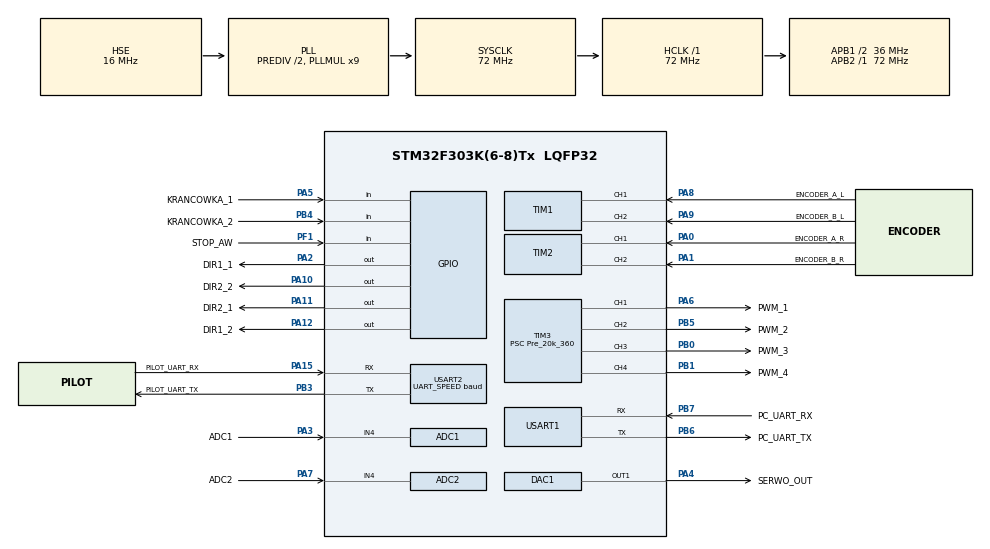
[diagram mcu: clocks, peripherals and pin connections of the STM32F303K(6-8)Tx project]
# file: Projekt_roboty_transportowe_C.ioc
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ADC1.Channel-0\#ChannelRegularConversion=ADC_CHANNEL_4
ADC1.NbrOfConversionFlag=1
ADC1.Offset-0\#ChannelRegularConversion=0
ADC1.OffsetNumber-0\#ChannelRegularConversion=ADC_OFFSET_NONE
ADC1.Rank-0\#ChannelRegularConversion=1
ADC1.SamplingTime-0\#ChannelRegularConversion=ADC_SAMPLETIME_1CYCLE_5
ADC1.SamplingTimeOPAMP-0\#ChannelRegularConversion=ADC_SAMPLETIME_61CYCLES_5
ADC1.SubFamily=STM32F303x8
ADC1.master=1
ADC2.Channel-2\#ChannelRegularConversion=ADC_CHANNEL_4
ADC2.NbrOfConversionFlag=1
ADC2.Offset-2\#ChannelRegularConversion=0
ADC2.OffsetNumber-2\#ChannelRegularConversion=ADC_OFFSET_NONE
ADC2.Rank-2\#ChannelRegularConversion=1
ADC2.SamplingTime-2\#ChannelRegularConversion=ADC_SAMPLETIME_1CYCLE_5
ADC2.SamplingTimeOPAMP-2\#ChannelRegularConversion=ADC_SAMPLETIME_61CYCLES_5
ADC2.SubFamily=STM32F303x8
Dma.Request0=USART2_RX
Dma.USART2_RX.0.Direction=DMA_PERIPH_TO_MEMORY
Dma.USART2_RX.0.Instance=DMA1_Channel6
Dma.USART2_RX.0.MemDataAlignment=DMA_MDATAALIGN_BYTE
Dma.USART2_RX.0.MemInc=DMA_MINC_ENABLE
Dma.USART2_RX.0.Mode=DMA_CIRCULAR
Dma.USART2_RX.0.PeriphDataAlignment=DMA_PDATAALIGN_BYTE
Dma.USART2_RX.0.PeriphInc=DMA_PINC_DISABLE
Dma.USART2_RX.0.Priority=DMA_PRIORITY_HIGH
Mcu.Family=STM32F3
Mcu.Name=STM32F303K(6-8)Tx
Mcu.Package=LQFP32
Mcu.UserConstants=Hz100,99;Hz10,999;Pre_20k_360,9;Counter_20kHz_360,359;Pre_10kHz,7199;UART_SPEED,115200;Hz1000,9;Hz20,499
NVIC.ADC1_2_IRQn=true\:0\:0\:false\:false\:true\:true\:true
NVIC.DMA1_Channel6_IRQn=true\:0\:0\:false\:false\:true\:false\:true
NVIC.PriorityGroup=NVIC_PRIORITYGROUP_4
NVIC.TIM6_DAC1_IRQn=true\:0\:0\:false\:false\:true\:true\:true
NVIC.TIM7_DAC2_IRQn=true\:0\:0\:false\:false\:true\:true\:true
NVIC.USART2_IRQn=true\:0\:0\:false\:false\:true\:true\:true
PA0.GPIO_Label=ENCODER_A_R
PA0.Signal=S_TIM2_CH1_ETR
PA1.GPIO_Label=ENCODER_B_R
PA1.Signal=S_TIM2_CH2
PA10.GPIO_Label=DIR2_2
PA10.Signal=GPIO_Output
PA11.GPIO_Label=DIR2_1
PA11.Signal=GPIO_Output
PA12.GPIO_Label=DIR1_2
PA12.Signal=GPIO_Output
PA13.Mode=Serial_Wire
PA13.Signal=SYS_JTMS-SWDIO
PA14.Mode=Serial_Wire
PA14.Signal=SYS_JTCK-SWCLK
PA15.GPIO_Label=PILOT_UART_RX
PA15.Mode=Asynchronous
PA15.Signal=USART2_RX
PA2.GPIO_Label=DIR1_1
PA2.Signal=GPIO_Output
PA3.GPIO_Label=ADC1
PA3.Mode=IN4-Single-Ended
PA3.Signal=ADC1_IN4
PA4.GPIO_Label=SERWO_OUT
PA4.Signal=COMP_DAC11_group
PA5.GPIO_Label=KRANCOWKA_1
PA5.Signal=GPIO_Input
PA6.GPIO_Label=PWM_1
PA6.Signal=S_TIM3_CH1
PA7.GPIO_Label=ADC2
PA7.Mode=IN4-Single-Ended
PA7.Signal=ADC2_IN4
PA8.GPIO_Label=ENCODER_A_L
PA8.Signal=S_TIM1_CH1
PA9.GPIO_Label=ENCODER_B_L
PA9.Signal=S_TIM1_CH2
PB0.GPIO_Label=PWM_3
PB0.Signal=S_TIM3_CH3
PB1.GPIO_Label=PWM_4
PB1.Signal=S_TIM3_CH4
PB3.GPIO_Label=PILOT_UART_TX
PB3.Mode=Asynchronous
PB3.Signal=USART2_TX
PB4.GPIO_Label=KRANCOWKA_2
PB4.Signal=GPIO_Input
PB5.GPIO_Label=PWM_2
PB5.Signal=S_TIM3_CH2
PB6.GPIO_Label=PC_UART_TX
PB6.Mode=Asynchronous
PB6.Signal=USART1_TX
PB7.GPIO_Label=PC_UART_RX
PB7.Mode=Asynchronous
PB7.Signal=USART1_RX
PF0\ /\ OSC_IN.Mode=HSE-External-Clock-Source
PF0\ /\ OSC_IN.Signal=RCC_OSC_IN
PF1\ /\ OSC_OUT.GPIO_Label=STOP_AW
PF1\ /\ OSC_OUT.Signal=GPIO_Input
ProjectManager.HeapSize=0x200
ProjectManager.StackSize=0x400
ProjectManager.TargetToolchain=STM32CubeIDE
RCC.AHBFreq_Value=72000000
RCC.APB1CLKDivider=RCC_HCLK_DIV2
RCC.APB1Freq_Value=36000000
RCC.APB1TimFreq_Value=72000000
RCC.APB2Freq_Value=72000000
RCC.APB2TimFreq_Value=72000000
RCC.CortexFreq_Value=72000000
RCC.HCLKFreq_Value=72000000
RCC.HSE_VALUE=16000000
RCC.HSI_VALUE=8000000
RCC.PLLMUL=RCC_PLL_MUL9
RCC.PLLSourceVirtual=RCC_PLLSOURCE_HSE
RCC.RCC_PLLsource_Clock_Source_FROM_HSE=RCC_HSE_PREDIV_DIV2
RCC.SYSCLKFreq_VALUE=72000000
RCC.SYSCLKSourceVirtual=RCC_SYSCLKSOURCE_PLLCLK
RCC.Usart1ClockSelection=RCC_USART1CLKSOURCE_SYSCLK
SH.COMP_DAC11_group.0=DAC1_OUT1,DAC_OUT1
SH.S_TIM1_CH1.0=TIM1_CH1,Encoder_Interface
SH.S_TIM1_CH2.0=TIM1_CH2,Encoder_Interface
SH.S_TIM2_CH1_ETR.0=TIM2_CH1,Encoder_Interface
SH.S_TIM2_CH2.0=TIM2_CH2,Encoder_Interface
SH.S_TIM3_CH1.0=TIM3_CH1,PWM Generation1 CH1
SH.S_TIM3_CH2.0=TIM3_CH2,PWM Generation2 CH2
SH.S_TIM3_CH3.0=TIM3_CH3,PWM Generation3 CH3
SH.S_TIM3_CH4.0=TIM3_CH4,PWM Generation4 CH4
TIM1.IC1Filter=15
TIM1.IC2Filter=15
TIM2.EncoderMode=TIM_ENCODERMODE_TI12
TIM2.IC1Filter=15
TIM2.IC2Filter=15
TIM3.Channel-PWM\ Generation1\ CH1=TIM_CHANNEL_1
TIM3.Channel-PWM\ Generation2\ CH2=TIM_CHANNEL_2
TIM3.Channel-PWM\ Generation3\ CH3=TIM_CHANNEL_3
TIM3.Channel-PWM\ Generation4\ CH4=TIM_CHANNEL_4
TIM3.Period=Counter_20kHz_360
TIM3.Prescaler=Pre_20k_360
TIM6.Period=Hz20
TIM6.Prescaler=Pre_10kHz
TIM7.Period=Hz10
TIM7.Prescaler=Pre_10kHz
TIM7.TIM_MasterOutputTrigger=TIM_TRGO_RESET
USART1.VirtualMode-Asynchronous=VM_ASYNC
USART2.BaudRate=UART_SPEED
USART2.VirtualMode-Asynchronous=VM_ASYNC
VP_TIM6_VS_ClockSourceINT.Mode=Enable_Timer
VP_TIM7_VS_ClockSourceINT.Mode=Enable_Timer
board=NUCLEO-F303K8

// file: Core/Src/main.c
/* USER CODE BEGIN Header */
/**
  ******************************************************************************
  * @file           : main.c
  * @brief          : Main program body
  ******************************************************************************
  * @attention
  *
  * Copyright (c) 2022 STMicroelectronics.
  * All rights reserved.
  *
  * This software is licensed under terms that can be found in the LICENSE file
  * in the root directory of this software component.
  * If no LICENSE file comes with this software, it is provided AS-IS.
  *
  ******************************************************************************
  */
/* USER CODE END Header */
#include "main.h"
#include "adc.h"
#include "dac.h"
#include "dma.h"
#include "tim.h"
#include "usart.h"
#include "gpio.h"

/* USER CODE BEGIN Includes */
//https://github.com/mokhwasomssi/stm32_hal_ibus
#include "ibus.h"
#include <stdio.h>
#include <stdlib.h>
#include <stdbool.h>
#include "PID.h"
#include "MOT.h"

/* USER CODE END Includes */

/* USER CODE BEGIN PV */
#define IBUS_UART (&huart2)
#define IBUS_USER_CHANNELS 6

#define ENCODER_LEWY (&htim1)
#define ENCODER_PRAWY (&htim2)
#define PWM_TIMER (&htim3)
#define PID_TIMER (&htim6)
#define COMM_TIMER (&htim7)
#define COMM_HZ 10
#define PID_HZ 20

#define CW 0
#define CCW 1

#define PID_POWER 100

#define CH_TYL_LEWY                        0x00000000U                          /*!< Capture/compare channel 1 identifier      */
#define CH_TYL_PRAWY                       0x00000004U                          /*!< Capture/compare channel 2 identifier      */
#define CH_PRZOD_LEWY                      0x00000008U                          /*!< Capture/compare channel 3 identifier      */
#define CH_PRZOD_PRAWY 					   0x0000000CU

//DEFINES INSIDE MOT.h OF MOTOR PROPERTIES

/* USER CODE END PV */

void SystemClock_Config(void);

/* USER CODE BEGIN 0 */
int8_t Wiadomosc[200];
int16_t Rozmiar;
int16_t test = 10;

bool odebranie;
bool MA;
bool OFF_ON;

int8_t PID_flaga = 0;
int8_t COMM_flaga = 0;

uint16_t ibus_data[IBUS_USER_CHANNELS];

int16_t sterowanie_tyl_lewy = 0;
int16_t sterowanie_tyl_prawy = 0;

int16_t pomiar_tyl_lewy = 0;
int16_t pomiar_tyl_prawy = 0;

int16_t setpoint_tyl_lewy = 0;
int16_t setpoint_tyl_prawy = 0;

PID_t Pid_tyl_lewy;
PID_t Pid_tyl_prawy;

motor mot_tyl_lewy;
motor mot_tyl_prawy;
int16_t ms = 50;

int16_t I1_V;
int16_t I2_OMEGA;
int16_t I3_PLCHLDR;
int16_t I4_V_MAX;
int16_t I5_MA;
int16_t I6_ONOFF;

void HAL_UART_RxCpltCallback(UART_HandleTypeDef *huart);
void HAL_TIM_PeriodElapsedCallback (TIM_HandleTypeDef* htim);
int16_t to_process_range(int16_t input);
int16_t to_communication_range(int16_t input, int16_t replacement);
bool check_communication(int16_t input);
int16_t to_DAC(int16_t input, float min, float max);

/* USER CODE END 0 */

int main(void)
{

  /* MCU Configuration--------------------------------------------------------*/

  /* Reset of all peripherals, Initializes the Flash interface and the Systick. */
  HAL_Init();

  /* Configure the system clock */
  SystemClock_Config();

  /* Initialize all configured peripherals */
  MX_GPIO_Init();
  MX_TIM7_Init();
  MX_DMA_Init();
  MX_USART2_UART_Init();
  MX_TIM3_Init();
  MX_USART1_UART_Init();
  MX_ADC2_Init();
  MX_DAC1_Init();
  MX_TIM1_Init();
  MX_TIM2_Init();
  MX_TIM6_Init();
  MX_ADC1_Init();
  /* USER CODE BEGIN 2 */
  //INIT komunikacji ze zdalna aparatura
  ibus_init();

  //timery dla PID i komunikacji z PC
  HAL_TIM_Base_Start_IT(PID_TIMER);
  HAL_TIM_Base_Start_IT(COMM_TIMER);

  //timer PWM i zmienna sterujaca
  /*TIM_OC_InitTypeDef oc;
  oc.OCMode = TIM_OCMODE_PWM2;
  oc.Pulse = 0;
  oc.OCPolarity = TIM_OCPOLARITY_HIGH;
  oc.OCNPolarity = TIM_OCNPOLARITY_LOW;
  oc.OCFastMode = TIM_OCFAST_ENABLE;
  oc.OCIdleState = TIM_OCIDLESTATE_SET;
  oc.OCNIdleState = TIM_OCNIDLESTATE_RESET;

  HAL_TIM_PWM_ConfigChannel(PWM_TIMER, &oc, CH_TYL_LEWY);
  HAL_TIM_PWM_ConfigChannel(PWM_TIMER, &oc, CH_TYL_PRAWY);
  HAL_TIM_PWM_ConfigChannel(PWM_TIMER, &oc, CH_PRZOD_LEWY);
  HAL_TIM_PWM_ConfigChannel(PWM_TIMER, &oc, CH_PRZOD_PRAWY);*/

  //Pid inicjalizacja
  ms = (int16_t)1000/PID_HZ;
  pid_init(&Pid_tyl_lewy, 0.5, 15.0, 0.0, ms,PID_POWER);
  pid_scaling(&Pid_tyl_lewy, Counter_20kHz_360, -Counter_20kHz_360, Counter_20kHz_360, -Counter_20kHz_360);
  pid_init(&Pid_tyl_prawy, 0.5, 15.0, 0.0, ms,PID_POWER);
  pid_scaling(&Pid_tyl_prawy, Counter_20kHz_360, -Counter_20kHz_360, Counter_20kHz_360, -Counter_20kHz_360);

  //Motor inicjalizacja
  motor_init(&mot_tyl_lewy,DIR1_1_GPIO_Port,DIR1_2_GPIO_Port,DIR1_1_Pin,DIR1_2_Pin);
  motor_init(&mot_tyl_prawy,DIR2_1_GPIO_Port,DIR2_2_GPIO_Port,DIR2_1_Pin,DIR2_2_Pin);

  /* USER CODE END 2 */

  /* Infinite loop */
  /* USER CODE BEGIN WHILE */
  while (1)
  {

	  //STEROWANIE KOLAMI
	  if(PID_flaga == 1){
		  PID_flaga = 0;

		  //LEWE - PID OBLICZA NAWET W TRYBIE MANUALNYM
		  pomiar_tyl_lewy = to_process_range(motor_calculate_speed(&mot_tyl_lewy, ENCODER_LEWY, PID_HZ));
		  sterowanie_tyl_lewy = pid_calc(&Pid_tyl_lewy, pomiar_tyl_lewy, setpoint_tyl_lewy);

		  //STEROWANIE DLA TRYBU AUTOMATYCZNEGO
		  if(MA == 1){
			  if (I1_V != 0){
				  set_motor_dir(&mot_tyl_lewy,sterowanie_tyl_lewy);
				  __HAL_TIM_SetCompare(PWM_TIMER, CH_TYL_LEWY,abs(sterowanie_tyl_lewy));
				  __HAL_TIM_SetCompare(PWM_TIMER, CH_PRZOD_LEWY,abs(sterowanie_tyl_lewy));
			  }
			  else{
				  set_motor_dir(&mot_tyl_lewy,0);
				  __HAL_TIM_SetCompare(PWM_TIMER, CH_TYL_LEWY,0);
				  __HAL_TIM_SetCompare(PWM_TIMER, CH_PRZOD_LEWY,0);
			  }
		  }

		  //PRAWE - PID OBLICZA NAWET W TRYBIE MANUALNYM
		  pomiar_tyl_prawy = to_process_range(motor_calculate_speed(&mot_tyl_prawy, ENCODER_PRAWY, PID_HZ));
		  sterowanie_tyl_prawy = pid_calc(&Pid_tyl_prawy, pomiar_tyl_prawy, setpoint_tyl_prawy);

		  //STEROWANIE DLA TRYBU AUTOMATYCZNEGO
		  if(MA == 1){
			  if (I1_V != 0){
				  set_motor_dir(&mot_tyl_prawy,sterowanie_tyl_prawy);
				  __HAL_TIM_SetCompare(PWM_TIMER, CH_TYL_PRAWY,abs(sterowanie_tyl_prawy));
				  __HAL_TIM_SetCompare(PWM_TIMER, CH_PRZOD_PRAWY,abs(sterowanie_tyl_prawy));
			  }
			  else{
				  set_motor_dir(&mot_tyl_prawy,0);
				  __HAL_TIM_SetCompare(PWM_TIMER, CH_TYL_PRAWY,0);
				  __HAL_TIM_SetCompare(PWM_TIMER, CH_PRZOD_PRAWY,0);
			  }
		  }
	  }

	  //ODBIOR Z KOMUNIKACJI I OBROBKA DANYCH
	  if(COMM_flaga == 1){

		  COMM_flaga = 0;

		  odebranie = ibus_read(ibus_data);
		  ibus_soft_failsafe(ibus_data, 10);

		  I1_V = to_communication_range(ibus_data[0], 1500);
		  I2_OMEGA = to_communication_range(ibus_data[1],1500);
		  I3_PLCHLDR = to_communication_range(ibus_data[2],1500);
		  I4_V_MAX = to_communication_range(ibus_data[3],2000);
		  I5_MA = to_communication_range(ibus_data[4],0);
		  if (I5_MA == 0){ibus_data[5] = 1000;} 				//JEŚLI NIE MA TRYBU W ODPOWIEDNIM RANGE TO STOP
		  I6_ONOFF = to_communication_range(ibus_data[5],1000);

		  //SPROWADZENIE WARTOSCI DO BOOL
		  OFF_ON = check_communication(I6_ONOFF);
		  MA = check_communication(I5_MA);

		  //JEŚLI WYŁĄCZONY TO TRYB MANUALNY NADPISUJACY ZEROWE STEROWANIA
		  if (OFF_ON == 0){ MA = 0;}

		  //WŁĄCZONY
		  if (OFF_ON == 1){
			  if (I1_V > I4_V_MAX){ I1_V = I4_V_MAX; }

			  I1_V = to_process_range(2*(I1_V-1500));

			  setpoint_tyl_lewy = I1_V;
			  setpoint_tyl_prawy = I1_V;
		  }

		  //WYŁĄCZONY - WPISANIE ZER
		  else{
			  I1_V = 0;

			  setpoint_tyl_lewy = I1_V;
			  setpoint_tyl_prawy = I1_V;
		  }

		  //STEROWANIE DLA TRYBU MANUALNEGO
		  if (MA == 0){
			  set_motor_dir(&mot_tyl_lewy,I1_V);
			  __HAL_TIM_SetCompare(PWM_TIMER, CH_TYL_LEWY,I1_V);
			  __HAL_TIM_SetCompare(PWM_TIMER, CH_PRZOD_LEWY,I1_V);

			  set_motor_dir(&mot_tyl_prawy,I1_V);
			  __HAL_TIM_SetCompare(PWM_TIMER, CH_TYL_PRAWY,I1_V);
			  __HAL_TIM_SetCompare(PWM_TIMER, CH_PRZOD_PRAWY,I1_V);
		  }

	  }

	/*Rozmiar = sprintf((char *)Wiadomosc, "czesc:%d\n", test);
	HAL_UART_Transmit(&huart1, (uint8_t*) Wiadomosc,  Rozmiar, 100);*/

    /* USER CODE END WHILE */

  }
}

void SystemClock_Config(void)
{
  RCC_OscInitTypeDef RCC_OscInitStruct = {0};
  RCC_ClkInitTypeDef RCC_ClkInitStruct = {0};
  RCC_PeriphCLKInitTypeDef PeriphClkInit = {0};

  /** Initializes the RCC Oscillators according to the specified parameters
  * in the RCC_OscInitTypeDef structure.
  */
  RCC_OscInitStruct.OscillatorType = RCC_OSCILLATORTYPE_HSE;
  RCC_OscInitStruct.HSEState = RCC_HSE_BYPASS;
  RCC_OscInitStruct.HSEPredivValue = RCC_HSE_PREDIV_DIV2;
  RCC_OscInitStruct.HSIState = RCC_HSI_ON;
  RCC_OscInitStruct.PLL.PLLState = RCC_PLL_ON;
  RCC_OscInitStruct.PLL.PLLSource = RCC_PLLSOURCE_HSE;
  RCC_OscInitStruct.PLL.PLLMUL = RCC_PLL_MUL9;
  if (HAL_RCC_OscConfig(&RCC_OscInitStruct) != HAL_OK)
  {
    Error_Handler();
  }
  /** Initializes the CPU, AHB and APB buses clocks
  */
  RCC_ClkInitStruct.ClockType = RCC_CLOCKTYPE_HCLK|RCC_CLOCKTYPE_SYSCLK
                              |RCC_CLOCKTYPE_PCLK1|RCC_CLOCKTYPE_PCLK2;
  RCC_ClkInitStruct.SYSCLKSource = RCC_SYSCLKSOURCE_PLLCLK;
  RCC_ClkInitStruct.AHBCLKDivider = RCC_SYSCLK_DIV1;
  RCC_ClkInitStruct.APB1CLKDivider = RCC_HCLK_DIV2;
  RCC_ClkInitStruct.APB2CLKDivider = RCC_HCLK_DIV1;

  if (HAL_RCC_ClockConfig(&RCC_ClkInitStruct, FLASH_LATENCY_2) != HAL_OK)
  {
    Error_Handler();
  }
  PeriphClkInit.PeriphClockSelection = RCC_PERIPHCLK_USART1|RCC_PERIPHCLK_TIM1
                              |RCC_PERIPHCLK_ADC12;
  PeriphClkInit.Usart1ClockSelection = RCC_USART1CLKSOURCE_SYSCLK;
  PeriphClkInit.Adc12ClockSelection = RCC_ADC12PLLCLK_DIV1;
  PeriphClkInit.Tim1ClockSelection = RCC_TIM1CLK_HCLK;
  if (HAL_RCCEx_PeriphCLKConfig(&PeriphClkInit) != HAL_OK)
  {
    Error_Handler();
  }
}

/* USER CODE BEGIN 4 */

void HAL_UART_RxCpltCallback(UART_HandleTypeDef *huart)
{
	if(huart == IBUS_UART) { ibus_reset_failsafe();}
}

void HAL_TIM_PeriodElapsedCallback (TIM_HandleTypeDef* htim)
{
	if(htim == PID_TIMER){
		PID_flaga = 1;
	}

	if(htim == COMM_TIMER){
		COMM_flaga = 1;
	}
}

int16_t to_process_range(int16_t input)
{
	int16_t out = (int16_t)(((float)(input * Counter_20kHz_360))/1000.0);

	if (out > Counter_20kHz_360) { out = Counter_20kHz_360; }
	else if (out < -Counter_20kHz_360) { out = -Counter_20kHz_360; }

	return out;
}

int16_t to_communication_range(int16_t input, int16_t replacement)
{
	int16_t out;

	if (input < 1000) { out = replacement;}
	else if (input > 2000) { out = replacement;}
	else { out = input;}

	return out;
}

bool check_communication(int16_t input)
{
	bool out;

	if (input < 1050) { out = 0;}
	else if (input > 1950) { out = 1;}
	else { out = 0;}

	return out;
}

int16_t to_DAC(int16_t input, float min, float max)
{
	int16_t out;

	out = (int16_t) ( ((float)(input - 1000) /1000.0) * ( max - min ) + min );

	return out;
}

/* USER CODE END 4 */

void Error_Handler(void)
{
}
